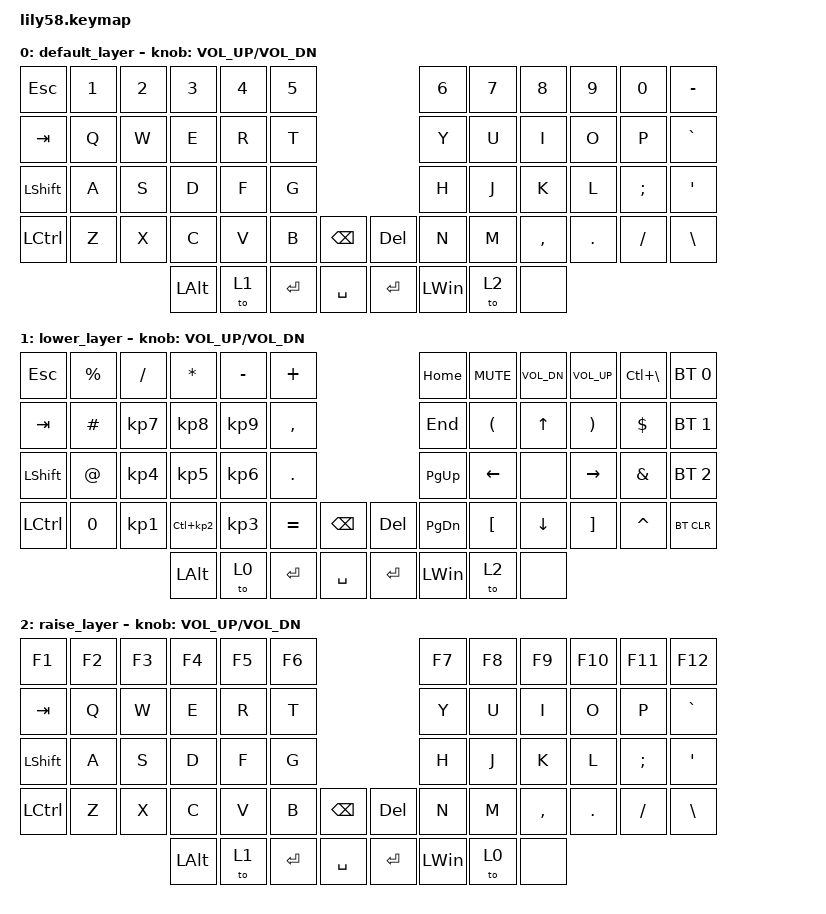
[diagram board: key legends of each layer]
/*
 * Copyright (c) 2020 The ZMK Contributors
 *
 * SPDX-License-Identifier: MIT
 */

#include <behaviors.dtsi>
#include <dt-bindings/zmk/bt.h>
#include <dt-bindings/zmk/keys.h>

/ {
    keymap {
        compatible = "zmk,keymap";

        default_layer {
            // ------------------------------------------------------------------------------------------------------------
            // |  ESC  |  1  |  2  |  3   |  4   |  5   |                   |  6   |  7    |  8    |  9   |   0   |   `   |
            // |  TAB  |  Q  |  W  |  E   |  R   |  T   |                   |  Y   |  U    |  I    |  O   |   P   |   -   |
            // |  CTRL |  A  |  S  |  D   |  F   |  G   |                   |  H   |  J    |  K    |  L   |   ;   |   '   |
            // | SHIFT |  Z  |  X  |  C   |  V   |  B   |   "["  |  |  "]"  |  N   |  M    |  ,    |  .   |   /   | SHIFT |
            //                     | ALT  | GUI  | LOWER|  SPACE |  | ENTER | RAISE| BSPC  | GUI   |

            bindings = <
&kp ESC    &kp N1  &kp N2  &kp N3    &kp N4  &kp N5                                  &kp N6        &kp N7  &kp N8     &kp N9   &kp N0    &kp MINUS
&kp TAB    &kp Q   &kp W   &kp E     &kp R   &kp T                                   &kp Y         &kp U   &kp I      &kp O    &kp P     &kp GRAVE
&kp LSHFT  &kp A   &kp S   &kp D     &kp F   &kp G                                   &kp H         &kp J   &kp K      &kp L    &kp SEMI  &kp SQT
&kp LCTRL  &kp Z   &kp X   &kp C     &kp V   &kp B      &kp BACKSPACE    &kp DELETE  &kp N         &kp M   &kp COMMA  &kp DOT  &kp FSLH  &kp BACKSLASH
                           &kp LALT  &to 1   &kp ENTER  &kp SPACE        &kp RET     &kp LEFT_WIN  &to 2   &none
            >;

            sensor-bindings = <&inc_dec_kp C_VOL_UP C_VOL_DN>;
        };

        lower_layer {
            // ------------------------------------------------------------------------------------------------------------
            // | BTCLR | BT1 | BT2 |  BT3 |  BT4 |  BT5 |                   |      |       |       |      |       |       |
            // |  F1   |  F2 |  F3 |  F4  |  F5  |  F6  |                   |  F7  |  F8   |  F9   |  F10 |  F11  |  F12  |
            // |   `   |  !  |  @  |  #   |  $   |  %   |                   |  ^   |  &    |  *    |  (   |   )   |   ~   |
            // |       |     |     |      |      |      |        |  |       |      |  _    |  +    |  {   |   }   |  "|"  |
            //                     |      |      |      |        |  |       |      |       |       |

            bindings = <
&kp ESC         &kp PERCENT   &kp SLASH        &kp ASTERISK         &kp MINUS        &kp PLUS                                 &kp HOME       &kp K_MUTE            &kp C_VOL_DN    &kp C_VOL_UP           &kp LC(BACKSLASH)  &bt BT_SEL 0
&kp TAB         &kp HASH      &kp KP_NUMBER_7  &kp KP_NUMBER_8      &kp KP_NUMBER_9  &kp COMMA                                &kp END        &kp LEFT_PARENTHESIS  &kp UP_ARROW    &kp RIGHT_PARENTHESIS  &kp DOLLAR         &bt BT_SEL 1
&kp LEFT_SHIFT  &kp AT_SIGN   &kp KP_NUMBER_4  &kp KP_NUMBER_5      &kp KP_NUMBER_6  &kp PERIOD                               &kp PG_UP      &kp LEFT_ARROW        &none           &kp RIGHT_ARROW        &kp AMPERSAND      &bt BT_SEL 2
&kp LCTRL       &kp NUMBER_0  &kp KP_NUMBER_1  &kp LC(KP_NUMBER_2)  &kp KP_NUMBER_3  &kp EQUAL   &kp BACKSPACE    &kp DELETE  &kp PAGE_DOWN  &kp LEFT_BRACKET      &kp DOWN_ARROW  &kp RIGHT_BRACKET      &kp CARET          &bt BT_CLR
                                               &kp LEFT_ALT         &to 0            &kp ENTER   &kp SPACE        &kp ENTER   &kp LEFT_WIN   &to 2                 &none
            >;

            sensor-bindings = <&inc_dec_kp C_VOL_UP C_VOL_DN>;
        };

        raise_layer {
            // ------------------------------------------------------------------------------------------------------------
            // |       |     |     |      |      |      |                   |      |       |       |      |       |       |
            // |   `   |  1  |  2  |  3   |  4   |  5   |                   |  6   |   7   |   8   |  9   |   0   |       |
            // |   F1  |  F2 |  F3 |  F4  |  F5  |  F6  |                   |      |   <-  |   v   |  ^   |  ->   |       |
            // |   F7  |  F8 |  F9 |  F10 |  F11 |  F12 |        |  |       |  +   |   -   |   =   |  [   |   ]   |   \   |
            //                     |      |      |      |        |  |       |      |       |       |

            bindings = <
&kp F1          &kp F2  &kp F3  &kp F4        &kp F5  &kp F6                                  &kp F7        &kp F8  &kp F9     &kp F10     &kp F11        &kp F12
&kp TAB         &kp Q   &kp W   &kp E         &kp R   &kp T                                   &kp Y         &kp U   &kp I      &kp O       &kp P          &kp GRAVE
&kp LEFT_SHIFT  &kp A   &kp S   &kp D         &kp F   &kp G                                   &kp H         &kp J   &kp K      &kp L       &kp SEMICOLON  &kp APOS
&kp LCTRL       &kp Z   &kp X   &kp C         &kp V   &kp B      &kp BACKSPACE    &kp DELETE  &kp N         &kp M   &kp COMMA  &kp PERIOD  &kp SLASH      &kp BSLH
                                &kp LEFT_ALT  &to 1   &kp ENTER  &kp SPACE        &kp ENTER   &kp LEFT_WIN  &to 0   &none
            >;

            sensor-bindings = <&inc_dec_kp C_VOL_UP C_VOL_DN>;
        };
    };
};
